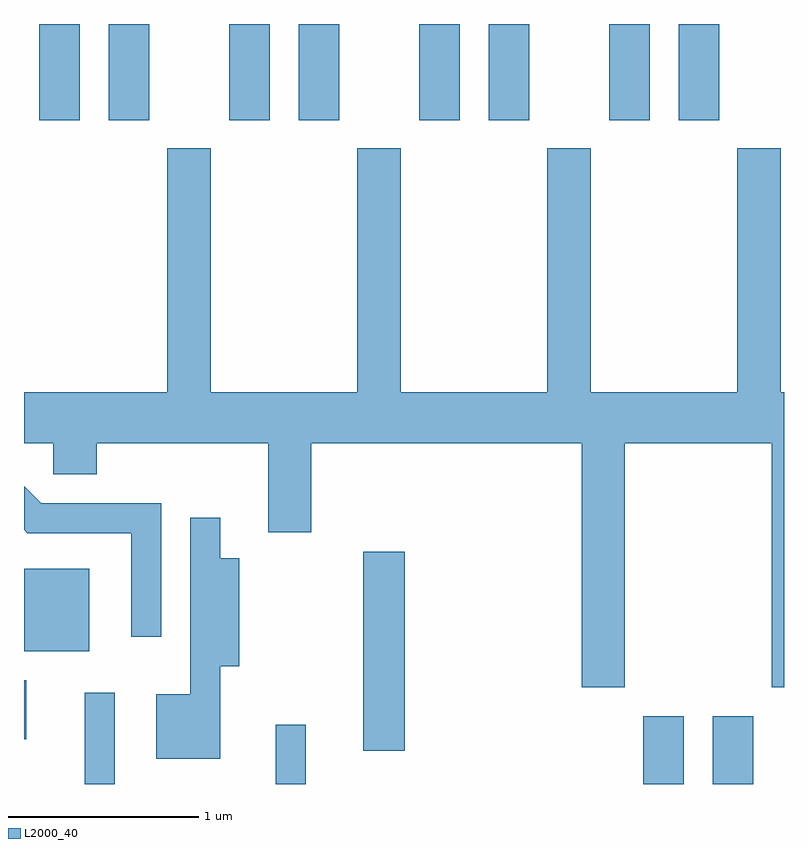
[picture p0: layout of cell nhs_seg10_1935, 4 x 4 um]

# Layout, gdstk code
import gdstk
lib = gdstk.Library(unit=1e-6, precision=1e-09)
def R(c, l, rs):  # rectangles x0, y0, x1, y1
    for r in rs: c.add(gdstk.rectangle(r[:2], r[2:], *l))
def P(c, l, *ps):  # polygons
    for p in ps: c.add(gdstk.Polygon(p, *l))
L2000_40 = (2000, 40)

nhs_seg10_1935 = lib.new_cell('nhs_seg10_1935')
R(nhs_seg10_1935, L2000_40, [(241.931,2156.522,242.089,2157.003), (242.936,2156.522,243.094,2156.833), (244.871,2156.522,245.084,2156.879), (245.236,2156.522,245.449,2156.879), (243.396,2156.696,243.614,2157.744), (241.611,2156.758,241.624,2157.069), (241.611,2157.221,241.954,2157.654), (241.691,2160.016,241.904,2160.522), (242.056,2160.016,242.269,2160.522), (242.691,2160.016,242.904,2160.522), (243.056,2160.016,243.269,2160.522), (243.691,2160.016,243.904,2160.522), (244.056,2160.016,244.269,2160.522), (244.691,2160.016,244.904,2160.522), (245.056,2160.016,245.269,2160.522)])
P(nhs_seg10_1935, L2000_40, [(244.774,2158.316),(245.546,2158.316),(245.546,2157.031),(245.611,2157.031),(245.611,2158.584),(245.594,2158.584),(245.594,2159.869),(245.366,2159.869),(245.366,2158.584),(244.594,2158.584),(244.594,2159.869),(244.366,2159.869),(244.366,2158.584),(243.594,2158.584),(243.594,2159.869),(243.366,2159.869),(243.366,2158.584),(242.594,2158.584),(242.594,2159.869),(242.366,2159.869),(242.366,2158.584),(241.611,2158.584),(241.611,2158.316),(241.766,2158.316),(241.766,2158.151),(241.994,2158.151),(241.994,2158.316),(242.896,2158.316),(242.896,2157.846),(243.124,2157.846),(243.124,2158.316),(244.546,2158.316),(244.546,2157.031),(244.774,2157.031)],
  [(242.334,2157.999),(241.702,2157.999),(241.611,2158.09),(241.611,2157.859),(241.629,2157.841),(242.176,2157.841),(242.176,2157.298),(242.334,2157.298)],
  [(242.644,2157.141),(242.744,2157.141),(242.744,2157.709),(242.644,2157.709),(242.644,2157.923),(242.486,2157.923),(242.486,2156.994),(242.306,2156.994),(242.306,2156.656),(242.644,2156.656)])

lib.write_gds('nhs_seg10_1935.gds')
